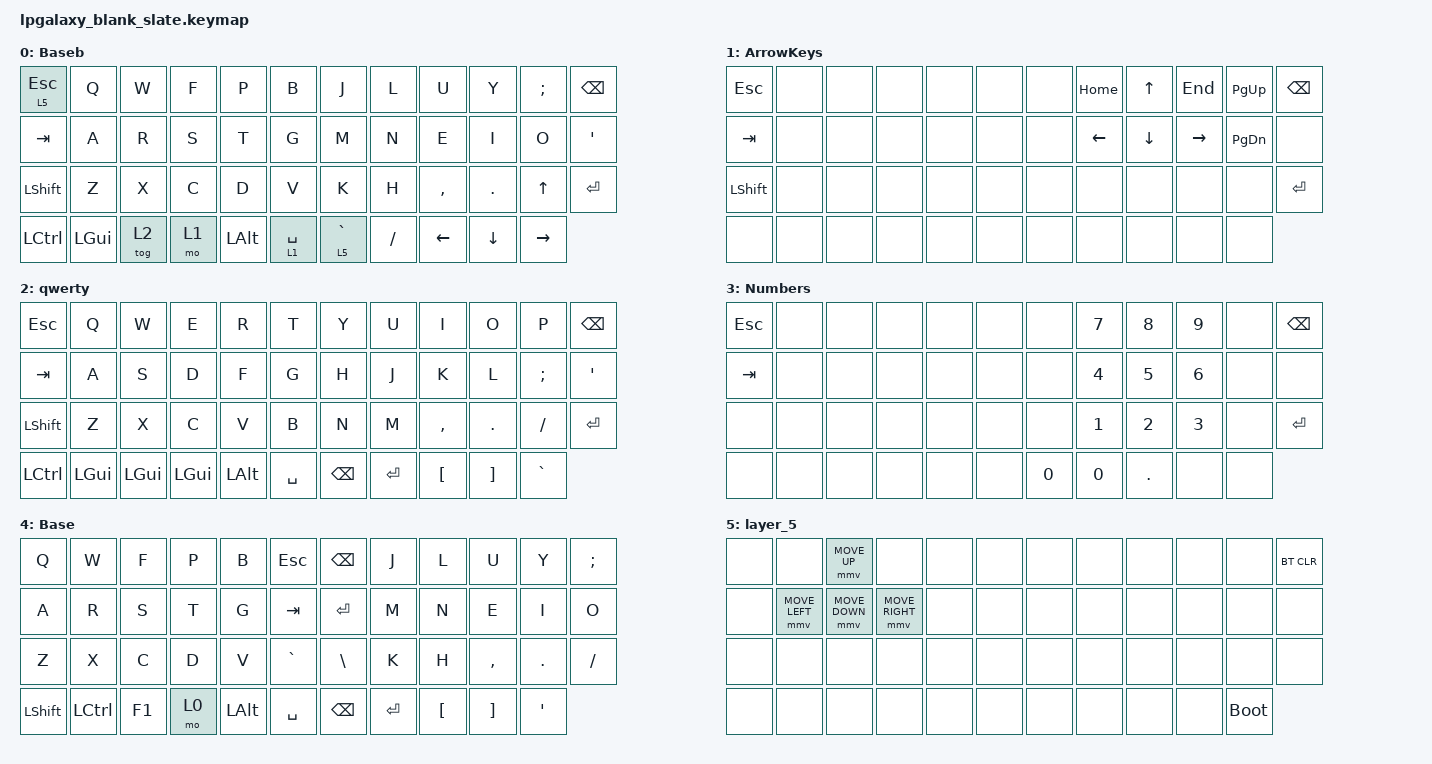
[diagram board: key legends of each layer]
/*
 * Copyright (c) 2022 Pete Johanson
 *
 * SPDX-License-Identifier: MIT
 */

#include <dt-bindings/zmk/mouse.h>
#include <behaviors/mouse_keys.dtsi>
#include <behaviors.dtsi>
#include <dt-bindings/zmk/bt.h>
#include <dt-bindings/zmk/keys.h>

/ {
    chosen { zmk,matrix_transform = &mit_transform; };

    combos {
        compatible = "zmk,combos";

        bootloader {
            bindings = <&bootloader>;
            key-positions = <0 11 46>;
        };

        reset {
            bindings = <&sys_reset>;
            key-positions = <0 36 46>;
        };

        bt0 {
            bindings = <&bt BT_SEL 0>;
            key-positions = <36 46 42>;
        };

        bt1 {
            bindings = <&bt BT_SEL 1>;
            key-positions = <36 43 46>;
        };

        btclrall {
            bindings = <&bt BT_CLR_ALL>;
            key-positions = <42 43 44 45 36>;
        };

        bt2 {
            bindings = <&bt BT_SEL 2>;
            key-positions = <36 46 44>;
        };

        bt3 {
            bindings = <&bt BT_SEL 3>;
            key-positions = <36 45 46>;
        };

        layout {
            bindings = <&tog 2>;
            key-positions = <0 36 40>;
        };

        tog3 {
            bindings = <&to 2>;
            key-positions = <36 41>;
        };
    };

    macros {
        eaccent: eaccent {
            compatible = "zmk,behavior-macro";
            #binding-cells = <0>;
            bindings = <&kp RWIN &kp APOS &kp E>;
            label = "EACCENT";
        };

        egrave: egrave {
            compatible = "zmk,behavior-macro";
            #binding-cells = <0>;
            bindings = <&kp RWIN &kp GRAVE &kp E>;
            label = "EGRAVE";
        };

        agrave: agrave {
            compatible = "zmk,behavior-macro";
            #binding-cells = <0>;
            bindings = <&kp RWIN &kp GRAVE &kp A>;
            label = "AGRAVE";
        };
    };

    keymap {
        compatible = "zmk,keymap";

        BaseColemakDH {
            label = "Baseb";
            bindings = <
&lt 5 ESC  &kp Q     &kp W   &kp F  &kp P     &kp B        &kp J      &kp L     &kp U      &kp Y     &kp SEMI   &kp BSPC
&kp TAB    &kp A     &kp R   &kp S  &kp T     &kp G        &kp M      &kp N     &kp E      &kp I     &kp O      &kp APOS
&kp LSHFT  &kp Z     &kp X   &kp C  &kp D     &kp V        &kp K      &kp H     &kp COMMA  &kp DOT   &kp UP     &kp ENTER
&kp LCTRL  &kp LGUI  &tog 2  &mo 1  &kp LALT  &lt 1 SPACE  &lt 5 GRAVE  &kp FSLH  &kp LEFT   &kp DOWN  &kp RIGHT
            >;
        };

        ArrowKeys {
            bindings = <
&kp ESC    &none  &none  &none  &none  &none  &none  &kp HOME  &kp UP    &kp END    &kp PG_UP  &kp BSPC
&kp TAB    &none  &none  &none  &none  &none  &none  &kp LEFT  &kp DOWN  &kp RIGHT  &kp PG_DN  &none
&kp LSHFT  &none  &none  &none  &none  &none  &none  &none     &none     &none      &none      &kp RET
&none      &none  &none  &none  &none  &none  &none  &none     &none     &none      &none
            >;
        };

        qwerty {
            label = "qwerty";
            bindings = <
&kp ESC    &kp Q     &kp W     &kp E     &kp R     &kp T      &kp Y     &kp U      &kp I      &kp O     &kp P      &kp BSPC
&kp TAB    &kp A     &kp S     &kp D     &kp F     &kp G      &kp H     &kp J      &kp K      &kp L     &kp SEMI   &kp SQT
&kp LSHFT  &kp Z     &kp X     &kp C     &kp V     &kp B      &kp N     &kp M      &kp COMMA  &kp DOT   &kp FSLH   &kp ENTER
&kp LCTRL  &kp LGUI  &kp LGUI  &kp LGUI  &kp LALT  &kp SPACE  &kp BSPC  &kp ENTER  &kp LBKT   &kp RBKT  &kp GRAVE
            >;
        };

        Numbers {
            bindings = <
&kp ESC  &none  &none  &none  &none  &none  &none   &kp N7  &kp N8   &kp N9  &none  &kp BSPC
&kp TAB  &none  &none  &none  &none  &none  &none   &kp N4  &kp N5   &kp N6  &none  &none
&none    &none  &none  &none  &none  &none  &none   &kp N1  &kp N2   &kp N3  &none  &kp RET
&none    &none  &none  &none  &none  &none  &kp N0  &kp N0  &kp DOT  &none   &none
            >;
        };

        GAPS {
            label = "Base";
            bindings = <
&kp Q      &kp W      &kp F   &kp P  &kp B     &kp ESC    &kp BSPC  &kp J      &kp L     &kp U      &kp Y    &kp SEMI
&kp A      &kp R      &kp S   &kp T  &kp G     &kp TAB    &kp RET   &kp M      &kp N     &kp E      &kp I    &kp O
&kp Z      &kp X      &kp C   &kp D  &kp V     &kp GRAVE  &kp BSLH  &kp K      &kp H     &kp COMMA  &kp DOT  &kp FSLH
&kp LSHFT  &kp LCTRL  &kp F1  &mo 0  &kp LALT  &kp SPACE  &kp BSPC  &kp ENTER  &kp LBKT  &kp RBKT   &kp SQT
            >;
        };

        layer_5 {
            bindings = <
&none  &none  &mmv MOVE_UP  &none  &none  &none  &none  &none  &none  &none  &none        &bt BT_CLR
&none  &mmv MOVE_LEFT  &mmv MOVE_DOWN  &mmv MOVE_RIGHT  &none  &none  &none  &none  &none  &none  &none        &none
&none  &none  &none  &none  &none  &none  &none  &none  &none  &none  &none        &none
&none  &none  &none  &none  &none  &none  &none  &none  &none  &none  &bootloader
            >;
        };
    };
};
